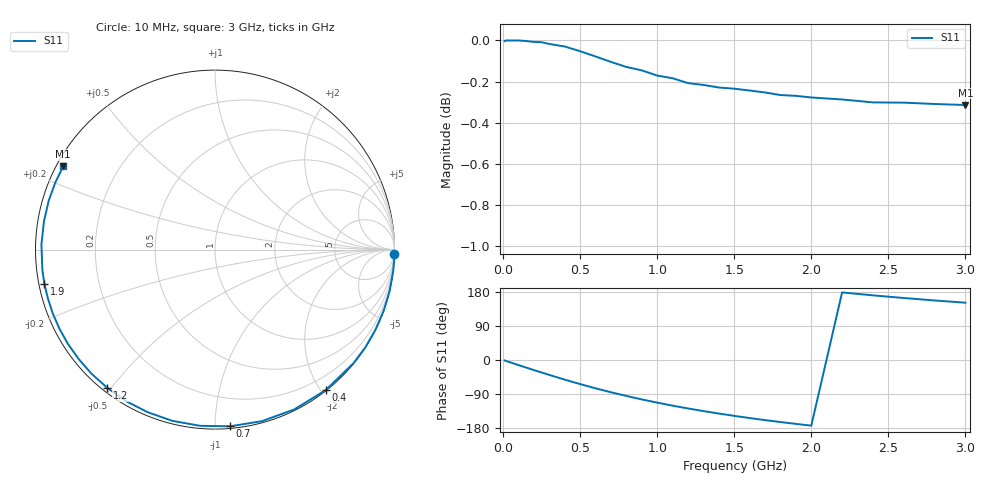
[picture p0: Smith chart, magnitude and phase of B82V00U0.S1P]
! SIEMENS Discrete & RF Semiconductors
! BBY53-03W
! Si Tuning Diode in SOD323
! VR = 2 V
! S-Parameters:  May  1997
# GHz  S  MA  R  50
!  f  S11
! GHz  MAG  ANG
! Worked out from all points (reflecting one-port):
!   30 points, 10 MHz to 3 GHz, reference 50 ohm
!   lowest |S11| = -0.3 dB at 3 GHz (marker M1), VSWR 55.34, Z = 0.963 + j12.8 ohm
!   phase of S11 starts at -1 deg and turns -208 deg over the sweep
!   S11 on the Smith chart (normalised r, x): 10 MHz: 1, -88; 400 MHz: 0.01, -2.06; 700 MHz: 0.01, -1.09; 1.2 GHz: 0.01, -0.49; 1.9 GHz: 0.02, -0.10; 3 GHz: 0.02, +0.26
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0.01  0.9997 -1.3
0.05  1 -6.7
0.1  1 -13.4
0.15  0.9997 -20.0
0.2  0.9992 -26.6
0.25  0.999 -33.0
0.3  0.998 -39.4
0.4  0.9966 -51.8
0.5  0.994 -63.6
0.6  0.9911 -74.7
0.7  0.988 -85.1
0.8  0.9853 -94.8
0.9  0.9834 -104.0
1  0.9805 -112.5
1.1  0.9791 -120.5
1.2  0.9764 -127.9
1.3  0.9754 -134.8
1.4  0.974 -141.3
1.5  0.9734 -147.4
1.6  0.9724 -153.2
1.7  0.9713 -158.6
1.9  0.9695 -168.6
2  0.9686 -173.2
2.2  0.9675 178.3
2.4  0.9659 170.6
2.6  0.9658 163.6
2.8  0.9651 157.1
3  0.9645 151.2
